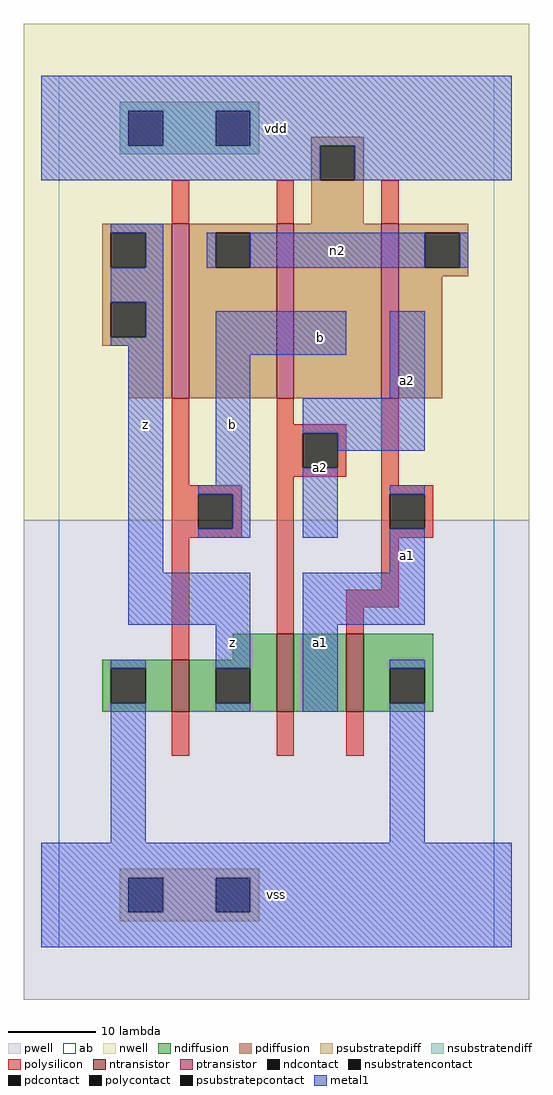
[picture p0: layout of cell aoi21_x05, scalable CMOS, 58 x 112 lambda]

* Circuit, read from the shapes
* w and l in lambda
.subckt aoi21_x05 a1 a2 b n2 vdd vss z
M1 z b vss vss nfet w=6 l=2
M2 n1 a2 z vss nfet w=9 l=2
M3 vss a1 n1 vss nfet w=9 l=2
M4 n2 b z vdd pfet w=20 l=2
M5 vdd a2 n2 vdd pfet w=20 l=2
M6 n2 a1 vdd vdd pfet w=20 l=2
.ends

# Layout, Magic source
magic
tech scmos
<< ab >>
rect 0 0 50 100
<< pwell >>
rect -4 -6 54 49
<< nwell >>
rect -4 49 54 106
<< polysilicon >>
rect 13 83 15 88
rect 25 83 27 88
rect 37 83 39 88
rect 13 53 15 63
rect 25 60 27 63
rect 25 59 33 60
rect 25 55 28 59
rect 32 55 33 59
rect 25 54 33 55
rect 13 52 21 53
rect 13 48 16 52
rect 20 48 21 52
rect 13 47 21 48
rect 13 33 15 47
rect 25 36 27 54
rect 37 53 39 63
rect 37 52 43 53
rect 37 48 38 52
rect 42 48 43 52
rect 37 47 43 48
rect 37 41 39 47
rect 33 39 39 41
rect 33 36 35 39
rect 13 22 15 27
rect 25 22 27 27
rect 33 22 35 27
<< ndiffusion >>
rect 20 33 25 36
rect 5 32 13 33
rect 5 28 6 32
rect 10 28 13 32
rect 5 27 13 28
rect 15 32 25 33
rect 15 28 18 32
rect 22 28 25 32
rect 15 27 25 28
rect 27 27 33 36
rect 35 32 43 36
rect 35 28 38 32
rect 42 28 43 32
rect 35 27 43 28
<< pdiffusion >>
rect 29 92 35 93
rect 29 88 30 92
rect 34 88 35 92
rect 29 83 35 88
rect 5 82 13 83
rect 5 78 6 82
rect 10 78 13 82
rect 5 74 13 78
rect 5 70 6 74
rect 10 70 13 74
rect 5 69 13 70
rect 8 63 13 69
rect 15 82 25 83
rect 15 78 18 82
rect 22 78 25 82
rect 15 63 25 78
rect 27 63 37 83
rect 39 82 47 83
rect 39 78 42 82
rect 46 78 47 82
rect 39 77 47 78
rect 39 63 44 77
<< metal1 >>
rect -2 92 52 100
rect -2 88 30 92
rect 34 88 52 92
rect 6 82 12 83
rect 10 78 12 82
rect 17 78 18 82
rect 22 78 42 82
rect 46 78 47 82
rect 6 74 12 78
rect 10 70 12 74
rect 6 69 12 70
rect 8 43 12 69
rect 18 68 33 73
rect 18 53 22 68
rect 38 63 42 73
rect 16 52 22 53
rect 20 48 22 52
rect 16 47 22 48
rect 28 59 42 63
rect 32 57 42 59
rect 28 47 32 55
rect 38 52 42 53
rect 38 43 42 48
rect 8 37 22 43
rect 6 32 10 33
rect 6 12 10 28
rect 18 32 22 37
rect 18 27 22 28
rect 28 37 42 43
rect 28 27 32 37
rect 38 32 42 33
rect 38 12 42 28
rect -2 0 52 12
<< ntransistor >>
rect 13 27 15 33
rect 25 27 27 36
rect 33 27 35 36
<< ptransistor >>
rect 13 63 15 83
rect 25 63 27 83
rect 37 63 39 83
<< polycontact >>
rect 28 55 32 59
rect 16 48 20 52
rect 38 48 42 52
<< ndcontact >>
rect 6 28 10 32
rect 18 28 22 32
rect 38 28 42 32
<< pdcontact >>
rect 30 88 34 92
rect 6 78 10 82
rect 6 70 10 74
rect 18 78 22 82
rect 42 78 46 82
<< psubstratepcontact >>
rect 8 4 12 8
rect 18 4 22 8
<< nsubstratencontact >>
rect 8 92 12 96
rect 18 92 22 96
<< psubstratepdiff >>
rect 7 8 23 9
rect 7 4 8 8
rect 12 4 18 8
rect 22 4 23 8
rect 7 3 23 4
<< nsubstratendiff >>
rect 7 96 23 97
rect 7 92 8 96
rect 12 92 18 96
rect 22 92 23 96
rect 7 91 23 92
<< labels >>
rlabel metal1 20 35 20 35 6 z
rlabel metal1 20 35 20 35 6 z
rlabel metal1 10 60 10 60 6 z
rlabel metal1 10 60 10 60 6 z
rlabel metal1 20 60 20 60 6 b
rlabel metal1 20 60 20 60 6 b
rlabel metal1 25 6 25 6 6 vss
rlabel metal1 25 6 25 6 6 vss
rlabel metal1 30 35 30 35 6 a1
rlabel metal1 30 35 30 35 6 a1
rlabel metal1 30 70 30 70 6 b
rlabel metal1 30 55 30 55 6 a2
rlabel metal1 30 70 30 70 6 b
rlabel metal1 30 55 30 55 6 a2
rlabel metal1 25 94 25 94 6 vdd
rlabel metal1 25 94 25 94 6 vdd
rlabel metal1 40 45 40 45 6 a1
rlabel metal1 40 45 40 45 6 a1
rlabel metal1 40 65 40 65 6 a2
rlabel metal1 40 65 40 65 6 a2
rlabel metal1 32 80 32 80 6 n2
<< end >>
